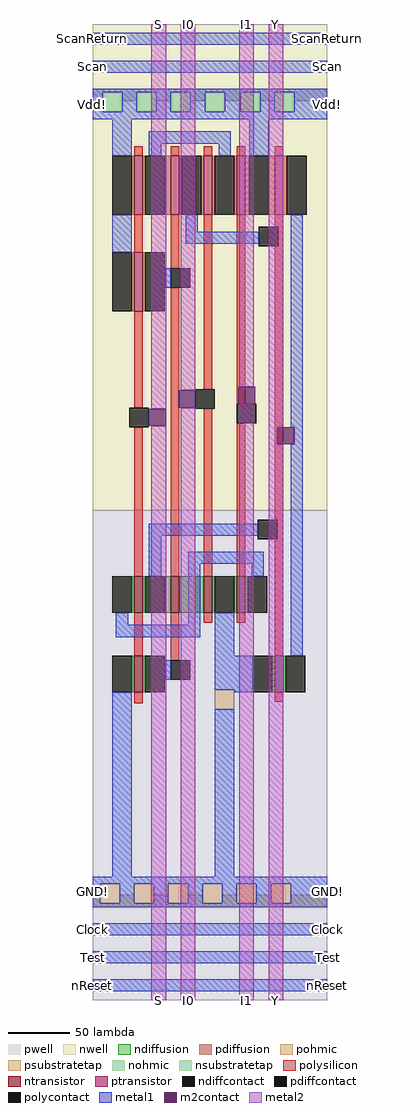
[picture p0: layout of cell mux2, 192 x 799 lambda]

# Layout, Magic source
magic
tech c035u
<< nwell >>
rect 0 401 192 799
<< pwell >>
rect 0 0 192 401
<< polysilicon >>
rect 34 691 41 699
rect 64 691 71 699
rect 91 691 98 699
rect 118 691 125 699
rect 149 691 156 699
rect 34 612 41 643
rect 64 599 71 643
rect 34 485 41 564
rect 34 347 41 469
rect 64 347 71 583
rect 91 500 98 643
rect 118 488 125 643
rect 149 633 156 643
rect 152 617 156 633
rect 91 347 98 484
rect 118 347 125 472
rect 149 393 156 617
rect 151 377 156 393
rect 34 282 41 317
rect 64 278 71 317
rect 91 309 98 317
rect 118 309 125 317
rect 149 282 156 377
rect 34 243 41 252
rect 149 244 156 252
<< ndiffusion >>
rect 32 317 34 347
rect 41 317 43 347
rect 59 317 64 347
rect 71 317 91 347
rect 98 317 100 347
rect 116 317 118 347
rect 125 317 127 347
rect 32 252 34 282
rect 41 252 43 282
rect 147 252 149 282
rect 156 252 158 282
<< pdiffusion >>
rect 32 643 34 691
rect 41 643 43 691
rect 59 643 64 691
rect 71 643 73 691
rect 89 643 91 691
rect 98 643 100 691
rect 116 643 118 691
rect 125 643 128 691
rect 144 643 149 691
rect 156 643 159 691
rect 32 564 34 612
rect 41 564 43 612
<< pohmic >>
rect 0 79 6 86
rect 22 79 34 86
rect 50 79 62 86
rect 78 79 90 86
rect 106 79 118 86
rect 134 79 146 86
rect 162 79 192 86
rect 0 76 192 79
<< nohmic >>
rect 0 743 192 746
rect 0 736 8 743
rect 24 736 36 743
rect 52 736 64 743
rect 80 736 92 743
rect 108 736 121 743
rect 137 736 149 743
rect 165 736 192 743
<< ntransistor >>
rect 34 317 41 347
rect 64 317 71 347
rect 91 317 98 347
rect 118 317 125 347
rect 34 252 41 282
rect 149 252 156 282
<< ptransistor >>
rect 34 643 41 691
rect 64 643 71 691
rect 91 643 98 691
rect 118 643 125 691
rect 149 643 156 691
rect 34 564 41 612
<< polycontact >>
rect 64 583 80 599
rect 30 469 46 485
rect 84 484 100 500
rect 136 617 152 633
rect 118 472 134 488
rect 135 377 151 393
rect 64 262 80 278
<< ndiffcontact >>
rect 16 317 32 347
rect 43 317 59 347
rect 100 317 116 347
rect 127 317 143 347
rect 16 252 32 282
rect 43 252 59 282
rect 131 252 147 282
rect 158 252 174 282
<< pdiffcontact >>
rect 16 643 32 691
rect 43 643 59 691
rect 73 643 89 691
rect 100 643 116 691
rect 128 643 144 691
rect 159 643 175 691
rect 16 564 32 612
rect 43 564 59 612
<< psubstratetap >>
rect 100 238 116 254
rect 6 79 22 95
rect 34 79 50 95
rect 62 79 78 95
rect 90 79 106 95
rect 118 79 134 95
rect 146 79 162 95
<< nsubstratetap >>
rect 8 727 24 743
rect 36 727 52 743
rect 64 727 80 743
rect 92 727 108 743
rect 121 727 137 743
rect 149 727 165 743
<< metal1 >>
rect 0 782 192 792
rect 0 759 192 769
rect 0 743 192 746
rect 0 727 8 743
rect 24 727 36 743
rect 52 727 64 743
rect 80 727 92 743
rect 108 727 121 743
rect 137 727 149 743
rect 165 727 192 743
rect 0 721 192 727
rect 16 691 32 721
rect 46 701 113 711
rect 46 691 56 701
rect 103 691 113 701
rect 128 691 144 721
rect 16 612 32 643
rect 76 629 86 643
rect 76 619 136 629
rect 59 583 64 599
rect 162 469 172 643
rect 165 455 172 469
rect 46 380 135 390
rect 46 347 56 380
rect 78 357 140 367
rect 19 307 29 317
rect 78 307 88 357
rect 130 347 140 357
rect 19 297 88 307
rect 100 282 116 317
rect 162 282 172 455
rect 59 262 64 278
rect 100 254 131 282
rect 16 101 32 252
rect 116 252 131 254
rect 100 101 116 238
rect 0 95 192 101
rect 0 79 6 95
rect 22 79 34 95
rect 50 79 62 95
rect 78 79 90 95
rect 106 79 118 95
rect 134 79 146 95
rect 162 79 192 95
rect 0 76 192 79
rect 0 53 192 63
rect 0 30 192 40
rect 0 7 192 17
<< m2contact >>
rect 70 485 84 499
rect 119 488 133 502
rect 46 470 60 484
rect 151 455 165 469
<< metal2 >>
rect 48 484 60 799
rect 72 499 84 799
rect 120 502 132 799
rect 48 0 60 470
rect 72 0 84 485
rect 120 0 132 488
rect 144 469 156 799
rect 144 455 151 469
rect 144 0 156 455
<< labels >>
rlabel metal1 0 76 0 101 1 GND!
rlabel metal1 0 7 0 17 2 nReset
rlabel metal1 0 30 0 40 3 Test
rlabel metal1 0 53 0 63 3 Clock
rlabel metal2 48 0 60 0 1 S
rlabel metal2 144 0 156 0 1 Y
rlabel metal2 72 0 84 0 1 I0
rlabel metal1 0 721 0 746 3 Vdd!
rlabel metal1 0 759 0 769 3 Scan
rlabel metal1 0 782 0 792 4 ScanReturn
rlabel metal2 48 799 60 799 5 S
rlabel metal2 144 799 156 799 5 Y
rlabel metal2 120 799 132 799 5 I1
rlabel metal2 72 799 84 799 5 I0
rlabel metal1 192 76 192 101 7 GND!
rlabel metal1 192 7 192 17 8 nReset
rlabel metal1 192 30 192 40 7 Test
rlabel metal1 192 53 192 63 7 Clock
rlabel metal1 192 721 192 746 7 Vdd!
rlabel metal1 192 782 192 792 6 ScanReturn
rlabel metal1 192 759 192 769 7 Scan
rlabel metal2 120 0 132 0 1 I1
<< end >>
